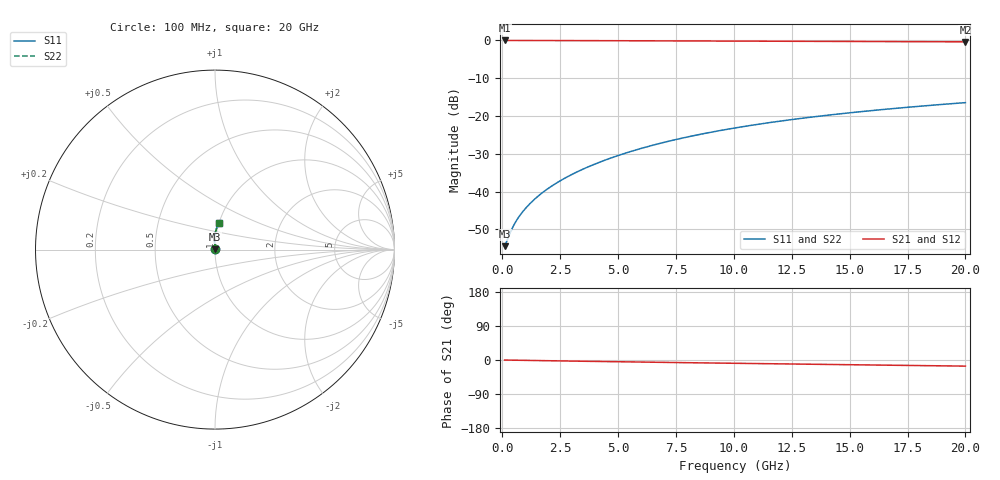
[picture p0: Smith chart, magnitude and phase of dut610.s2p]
! Touchstone file exported from HFSS 2024.1.0
!  File:  C:/UserFiles/LocalFiles/RDL_TSV_Batchsim/temp_RDL_bottom_610_1779783566.aedt
!  Generated:  04:22:13 PM May 26, 2026
!  Design:  RDL_bottom
!  Project:  temp_RDL_bottom_610_1779783566
!  Setup:  Setup1
!  Solution:  Sweep
! Variables:
!  dtsv = 10.80580581um
!  hbump = 3um
!  htsv = 52.27um
!  ldown = 221.72um
!  lrdl = 100um
!  p = 40
!  p1 = 46.5um
!  rhole = 1um
!  t = 450um
!  tdown = 2.08um
!  trdl = 3.915915916um
!  wdown = 28.72um
!  wrdl = 20um
# GHz S MA R 50.000000
! Terminal data exported
! Port[1] = RDL1_T1
! Port[2] = RDL1_T2
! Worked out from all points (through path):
!   200 points, 100 MHz to 20 GHz, reference 50 ohm
!   highest |S21| = -0.02 dB at 100 MHz (marker M1); lowest = -0.4 dB at 20 GHz (marker M2)
!   group delay of S21, straight-line fit = 2.21 ps
!   lowest |S11| = -54.4 dB at 100 MHz (marker M3), VSWR 1.00, Z = 50.2 + j0.0651 ohm
!   |S11| at or under -10 dB: start of sweep to end of sweep
!   |S22| runs from -54.4 to -16.5 dB; largest |S21 - S12| = 6.3e-15
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0.1  0.001898 20.0  0.9982 -0.1  0.9982 -0.1  0.001898 20.0
! Gamma 0 0 0 0
! Port Impedance 50 0 50 0
0.4  0.003139 51.3  0.9979 -0.4  0.9979 -0.4  0.003138 51.3
0.5  0.003613 56.0  0.9978 -0.5  0.9978 -0.5  0.003612 56.0
0.6  0.004085 59.7  0.9977 -0.6  0.9977 -0.6  0.004085 59.7
0.7  0.004557 62.8  0.9976 -0.7  0.9976 -0.7  0.004556 62.8
0.9  0.005505 67.7  0.9974 -0.9  0.9974 -0.9  0.005504 67.7
1.2  0.006959 73.1  0.9971 -1.2  0.9971 -1.2  0.006959 73.1
1.4  0.007958 75.9  0.9968 -1.4  0.9968 -1.4  0.007958 76.0
1.7  0.009503 79.3  0.9965 -1.6  0.9965 -1.6  0.009503 79.4
2.2  0.0122 83.5  0.9958 -2.1  0.9958 -2.1  0.0122 83.5
2.8  0.01564 87.0  0.9947 -2.7  0.9947 -2.7  0.01564 87.0
3.5  0.01992 89.8  0.9933 -3.3  0.9933 -3.3  0.01992 89.8
4.2  0.02447 91.6  0.9918 -3.9  0.9918 -3.9  0.02448 91.6
5  0.02999 92.9  0.9899 -4.6  0.9899 -4.6  0.03 92.9
5.9  0.03654 93.6  0.9877 -5.4  0.9877 -5.4  0.03656 93.6
6.8  0.04338 93.7  0.9854 -6.1  0.9854 -6.1  0.04341 93.8
8.4  0.05605 93.2  0.9815 -7.4  0.9815 -7.4  0.05609 93.2
10.1  0.06991 91.9  0.9775 -8.8  0.9775 -8.8  0.06996 91.9
11.7  0.0831 90.3  0.974 -10.0  0.974 -10.0  0.08317 90.4
13.4  0.09711 88.6  0.9703 -11.3  0.9703 -11.3  0.09719 88.6
16.7  0.124 85.1  0.9637 -13.7  0.9637 -13.7  0.1241 85.2
20  0.1502 81.7  0.9572 -16.2  0.9572 -16.2  0.1504 81.8
